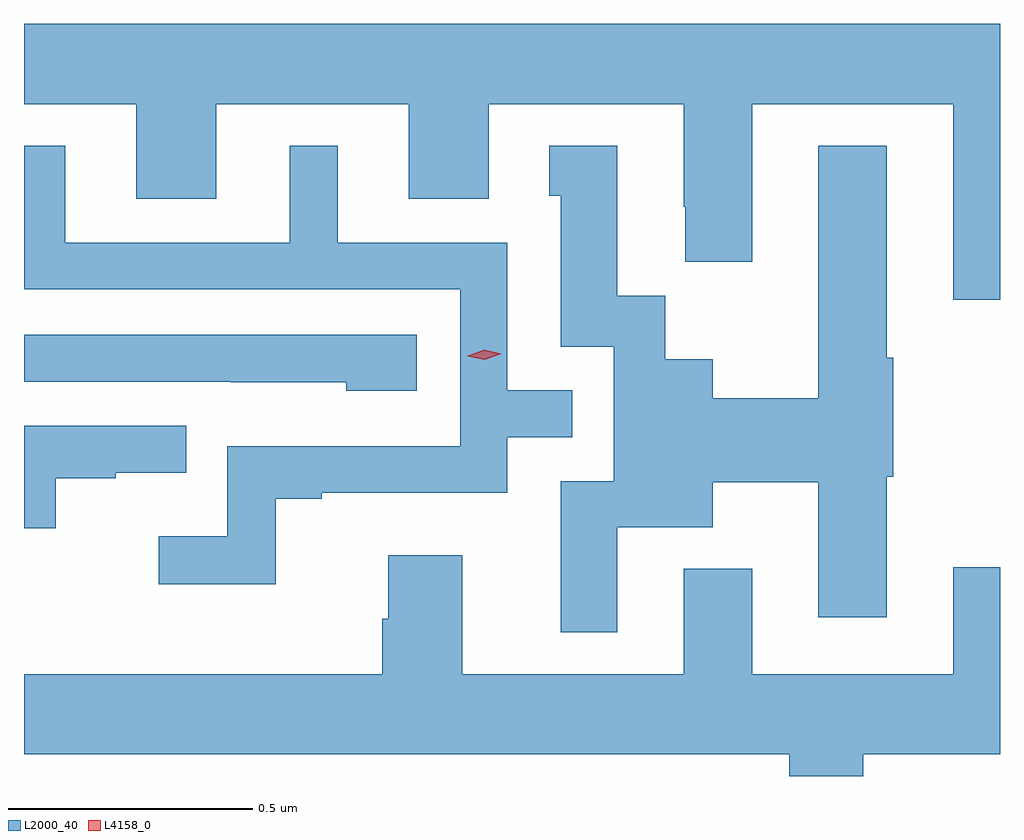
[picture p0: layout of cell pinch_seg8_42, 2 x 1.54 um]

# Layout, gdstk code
import gdstk
lib = gdstk.Library(unit=1e-6, precision=1e-09)
def P(c, l, *ps):  # polygons
    for p in ps: c.add(gdstk.Polygon(p, *l))
L2000_40 = (2000, 40)
L4158_0 = (4158, 0)

pinch_seg8_42 = lib.new_cell('pinch_seg8_42')
P(pinch_seg8_42, L2000_40, [(959.963,1129.984),(957.963,1129.984),(957.963,1129.82),(958.193,1129.82),(958.193,1129.626),(958.357,1129.626),(958.357,1129.82),(958.751,1129.82),(958.751,1129.626),(958.915,1129.626),(958.915,1129.82),(959.315,1129.82),(959.315,1129.609),(959.318,1129.609),(959.318,1129.497),(959.455,1129.497),(959.455,1129.82),(959.867,1129.82),(959.867,1129.419),(959.963,1129.419)],
  [(959.179,1128.953),(959.374,1128.953),(959.374,1129.045),(959.591,1129.045),(959.591,1128.768),(959.731,1128.768),(959.731,1129.056),(959.744,1129.056),(959.744,1129.3),(959.731,1129.3),(959.731,1129.735),(959.591,1129.735),(959.591,1129.217),(959.374,1129.217),(959.374,1129.297),(959.277,1129.297),(959.277,1129.427),(959.179,1129.427),(959.179,1129.735),(959.039,1129.735),(959.039,1129.632),(959.063,1129.632),(959.063,1129.323),(959.172,1129.323),(959.172,1129.047),(959.063,1129.047),(959.063,1128.738),(959.179,1128.738)],
  [(958.479,1129.011),(958.573,1129.011),(958.573,1129.023),(958.953,1129.023),(958.953,1129.137),(959.086,1129.137),(959.086,1129.233),(958.953,1129.233),(958.953,1129.536),(958.606,1129.536),(958.606,1129.735),(958.508,1129.735),(958.508,1129.536),(958.048,1129.536),(958.048,1129.735),(957.963,1129.735),(957.963,1129.44),(958.857,1129.44),(958.857,1129.119),(958.38,1129.119),(958.38,1128.934),(958.239,1128.934),(958.239,1128.836),(958.479,1128.836)],
  [(958.768,1129.347),(957.963,1129.347),(957.963,1129.251),(958.387,1129.251),(958.387,1129.25),(958.623,1129.25),(958.623,1129.232),(958.768,1129.232)],
  [(958.028,1129.053),(958.151,1129.053),(958.151,1129.064),(958.295,1129.064),(958.295,1129.161),(957.963,1129.161),(957.963,1128.951),(958.028,1128.951)],
  [(959.683,1128.488),(959.963,1128.488),(959.963,1128.871),(959.867,1128.871),(959.867,1128.652),(959.455,1128.652),(959.455,1128.868),(959.315,1128.868),(959.315,1128.652),(958.861,1128.652),(958.861,1128.895),(958.709,1128.895),(958.709,1128.765),(958.697,1128.765),(958.697,1128.652),(957.963,1128.652),(957.963,1128.488),(959.531,1128.488),(959.531,1128.443),(959.683,1128.443)])
P(pinch_seg8_42, L4158_0, [(958.907,1129.296),(958.872,1129.303),(958.872,1129.304),(958.872,1129.304),(958.906,1129.316),(958.941,1129.308),(958.941,1129.308),(958.941,1129.308)])

lib.write_gds('pinch_seg8_42.gds')
